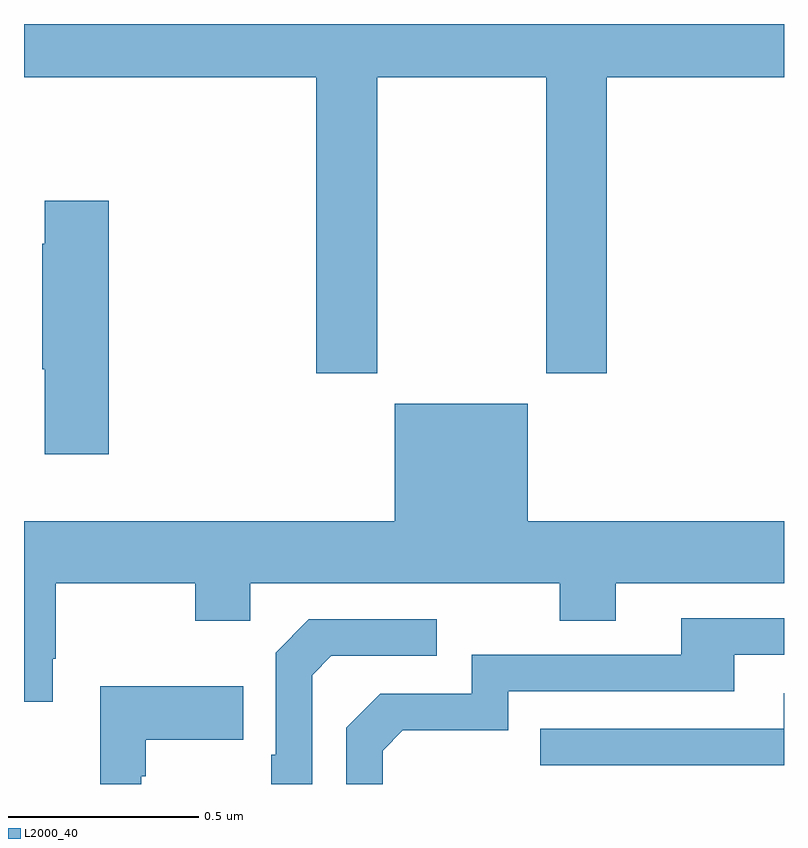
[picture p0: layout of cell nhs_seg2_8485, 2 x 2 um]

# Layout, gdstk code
import gdstk
lib = gdstk.Library(unit=1e-6, precision=1e-09)
def P(c, l, *ps):  # polygons
    for p in ps: c.add(gdstk.Polygon(p, *l))
L2000_40 = (2000, 40)

nhs_seg2_8485 = lib.new_cell('nhs_seg2_8485')
P(nhs_seg2_8485, L2000_40, [(217.929,623.66),(218.374,623.66),(218.374,622.881),(218.534,622.881),(218.534,623.66),(219,623.66),(219,623.8),(217,623.8),(217,623.66),(217.769,623.66),(217.769,622.881),(217.929,622.881)],
  [(217.223,623.335),(217.055,623.335),(217.055,623.222),(217.048,623.222),(217.048,622.891),(217.055,622.891),(217.055,622.668),(217.223,622.668)],
  [(217.075,622.129),(217.083,622.129),(217.083,622.328),(217.45,622.328),(217.45,622.229),(217.596,622.229),(217.596,622.328),(218.41,622.328),(218.41,622.229),(218.557,622.229),(218.557,622.328),(219,622.328),(219,622.492),(218.326,622.492),(218.326,622.801),(217.976,622.801),(217.976,622.492),(217,622.492),(217,622.017),(217.075,622.017)],
  [(217.944,621.888),(217.997,621.941),(218.274,621.941),(218.274,622.044),(218.869,622.044),(218.869,622.14),(219,622.14),(219,622.236),(218.729,622.236),(218.729,622.14),(218.178,622.14),(218.178,622.038),(217.938,622.038),(217.848,621.948),(217.848,621.8),(217.944,621.8)],
  [(217.758,622.086),(217.809,622.137),(218.086,622.137),(218.086,622.233),(217.749,622.233),(217.662,622.146),(217.662,621.877),(217.65,621.877),(217.65,621.8),(217.758,621.8)],
  [(217.308,621.821),(217.321,621.821),(217.321,621.917),(217.577,621.917),(217.577,622.057),(217.2,622.057),(217.2,621.8),(217.308,621.8)],
  [(219,622.039),(218.999,622.039),(218.999,621.945),(218.359,621.945),(218.359,621.849),(219,621.849)])

lib.write_gds('nhs_seg2_8485.gds')
